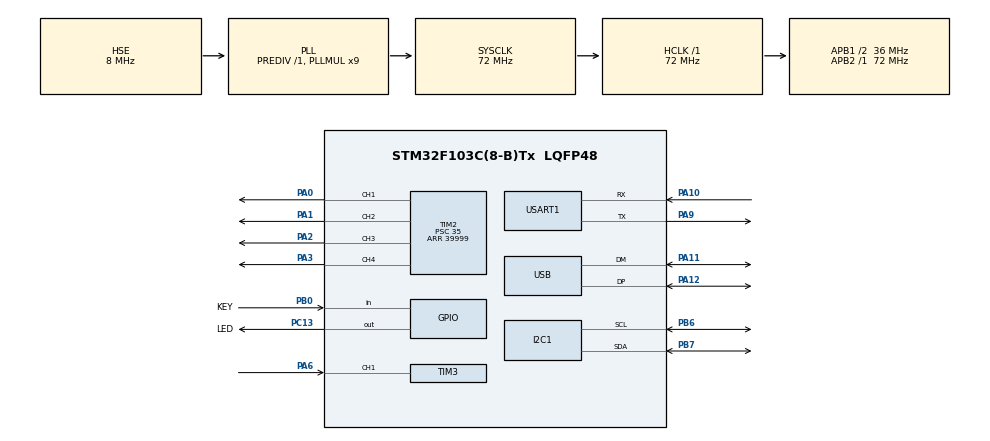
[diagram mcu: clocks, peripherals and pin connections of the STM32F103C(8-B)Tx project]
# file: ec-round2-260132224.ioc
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I2C1.I2C_Mode=I2C_Fast
Mcu.Family=STM32F1
Mcu.Name=STM32F103C(8-B)Tx
Mcu.Package=LQFP48
NVIC.PriorityGroup=NVIC_PRIORITYGROUP_4
NVIC.TIM3_IRQn=true\:1\:0\:true\:false\:true\:true\:true\:true
NVIC.TIM4_IRQn=true\:1\:0\:true\:false\:true\:true\:true\:true
NVIC.USB_LP_CAN1_RX0_IRQn=true\:0\:0\:false\:false\:true\:false\:true\:true
PA0-WKUP.Signal=S_TIM2_CH1_ETR
PA1.Signal=S_TIM2_CH2
PA10.Mode=Asynchronous
PA10.Signal=USART1_RX
PA11.Mode=Device
PA11.Signal=USB_DM
PA12.Mode=Device
PA12.Signal=USB_DP
PA13.Mode=Serial_Wire
PA13.Signal=SYS_JTMS-SWDIO
PA14.Mode=Serial_Wire
PA14.Signal=SYS_JTCK-SWCLK
PA2.Signal=S_TIM2_CH3
PA3.Signal=S_TIM2_CH4
PA6.Signal=S_TIM3_CH1
PA9.Mode=Asynchronous
PA9.Signal=USART1_TX
PB0.GPIO_Label=KEY
PB0.GPIO_PuPd=GPIO_PULLUP
PB0.Signal=GPIO_Input
PB6.Mode=I2C
PB6.Signal=I2C1_SCL
PB7.Mode=I2C
PB7.Signal=I2C1_SDA
PC13-TAMPER-RTC.GPIO_Label=LED
PC13-TAMPER-RTC.Signal=GPIO_Output
PD0-OSC_IN.Mode=HSE-External-Oscillator
PD0-OSC_IN.Signal=RCC_OSC_IN
PD1-OSC_OUT.Mode=HSE-External-Oscillator
PD1-OSC_OUT.Signal=RCC_OSC_OUT
ProjectManager.HeapSize=0x200
ProjectManager.StackSize=0x400
ProjectManager.TargetToolchain=CMake
RCC.AHBFreq_Value=72000000
RCC.APB1CLKDivider=RCC_HCLK_DIV2
RCC.APB1Freq_Value=36000000
RCC.APB1TimFreq_Value=72000000
RCC.APB2Freq_Value=72000000
RCC.APB2TimFreq_Value=72000000
RCC.HCLKFreq_Value=72000000
RCC.PLLMUL=RCC_PLL_MUL9
RCC.PLLSourceVirtual=RCC_PLLSOURCE_HSE
RCC.SYSCLKFreq_VALUE=72000000
RCC.SYSCLKSource=RCC_SYSCLKSOURCE_PLLCLK
RCC.USBFreq_Value=48000000
RCC.USBPrescaler=RCC_USBCLKSOURCE_PLL_DIV1_5
SH.S_TIM2_CH1_ETR.0=TIM2_CH1,PWM Generation1 CH1
SH.S_TIM2_CH2.0=TIM2_CH2,PWM Generation2 CH2
SH.S_TIM2_CH3.0=TIM2_CH3,PWM Generation3 CH3
SH.S_TIM2_CH4.0=TIM2_CH4,PWM Generation4 CH4
SH.S_TIM3_CH1.0=TIM3_CH1,Input_Capture1_from_TI1
TIM2.AutoReloadPreload=TIM_AUTORELOAD_PRELOAD_ENABLE
TIM2.Channel-PWM\ Generation1\ CH1=TIM_CHANNEL_1
TIM2.Channel-PWM\ Generation2\ CH2=TIM_CHANNEL_2
TIM2.Channel-PWM\ Generation3\ CH3=TIM_CHANNEL_3
TIM2.Channel-PWM\ Generation4\ CH4=TIM_CHANNEL_4
TIM2.Period=39999
TIM2.Prescaler=35
TIM3.Channel-Input_Capture1_from_TI1=TIM_CHANNEL_1
TIM3.Prescaler=35
TIM4.AutoReloadPreload=TIM_AUTORELOAD_PRELOAD_ENABLE
TIM4.Period=999
TIM4.Prescaler=71
USART1.VirtualMode=VM_ASYNC
USB_DEVICE.CLASS_NAME_FS=CDC
USB_DEVICE.VirtualMode=Cdc
USB_DEVICE.VirtualModeFS=Cdc_FS
VP_TIM2_VS_ClockSourceINT.Mode=Internal
VP_TIM3_VS_ClockSourceINT.Mode=Internal
VP_TIM4_VS_ClockSourceINT.Mode=Internal
VP_USB_DEVICE_VS_USB_DEVICE_CDC_FS.Mode=CDC_FS
board=custom

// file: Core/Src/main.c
/* USER CODE BEGIN Header */
/**
  ******************************************************************************
  * @file           : main.c
  * @brief          : Main program body
  ******************************************************************************
  * @attention
  *
  * Copyright (c) 2026 STMicroelectronics.
  * All rights reserved.
  *
  * This software is licensed under terms that can be found in the LICENSE file
  * in the root directory of this software component.
  * If no LICENSE file comes with this software, it is provided AS-IS.
  *
  ******************************************************************************
  */
/* USER CODE END Header */
#include "main.h"
#include "i2c.h"
#include "tim.h"
#include "usart.h"
#include "usb_device.h"
#include "gpio.h"

/* USER CODE BEGIN Includes */
#include <stdio.h>
#include "arm_home.h"
#include "arm_imu.h"
#include "arm_motion.h"
#include "arm_state.h"
#include "bsp_pwm.h"
#include "bsp_pwm_measure.h"
#include "bsp_time.h"
/* USER CODE END Includes */

/* USER CODE BEGIN PD */

/* 1 = 标定模式：串口控制台可逐关节微调脉宽，配合捕获读数核对
   0 = 正常运行：控制台整段不编译                                         */
#define CALIB_MODE      1

/* 控制台步进（µs） */
#define CALIB_STEP_FINE   10
#define CALIB_STEP_COARSE 50

/* USER CODE END PD */

/* USER CODE BEGIN PV */
static uint32_t  s_tick5;       /* 5ms 节拍计数（用于验证时基） */
static uint32_t  s_last_sec;    /* 上次打印的秒数 */
static ArmMotion g_motion;      /* 回零与日常运动共用同一个轨迹对象 */

#if CALIB_MODE
static pwm_joint_t s_calib_joint = PWM_J_BASE;   /* 当前在调哪一路 */
#endif
/* USER CODE END PV */

void SystemClock_Config(void);

/* USER CODE BEGIN 0 */
#if CALIB_MODE
/* 串口控制台：单字符命令，逐关节微调脉宽，用来标定行程
 *   1~4  选关节（1=底座 2=肩 3=肘 4=爪）
 *   + -  当前关节 ±10µs
 *   ] [  当前关节 ±50µs（快速扫）
 *   c    当前关节回中 1500µs
 *   a    四路全部回中 1500µs
 *   p    打印当前关节与脉宽
 *   h    打印本帮助
 * 注意：必须在 BSP_Pwm_Init() 之后调用（PWM 已启动）
 */
static void Calib_Console(void)
{
    static uint8_t ch;
    uint16_t us;

    if (HAL_UART_Receive(&huart1, &ch, 1U, 0U) != HAL_OK) {
        return;
    }

    us = BSP_Pwm_GetPulseUs(s_calib_joint);

    switch (ch) {
    case '1':
    case '2':
    case '3':
    case '4':
        s_calib_joint = (pwm_joint_t)(ch - '1');
        printf("[J%u] selected, us=%u\r\n",
               (unsigned)(s_calib_joint + 1U),
               BSP_Pwm_GetPulseUs(s_calib_joint));
        break;

    case '+':
    case '=':
        BSP_Pwm_SetPulseUs(s_calib_joint, (uint16_t)(us + CALIB_STEP_FINE));
        printf("[J%u] %u -> %u\r\n", (unsigned)(s_calib_joint + 1U), us,
               BSP_Pwm_GetPulseUs(s_calib_joint));
        break;

    case '-':
    case '_':
        BSP_Pwm_SetPulseUs(s_calib_joint, (uint16_t)(us - CALIB_STEP_FINE));
        printf("[J%u] %u -> %u\r\n", (unsigned)(s_calib_joint + 1U), us,
               BSP_Pwm_GetPulseUs(s_calib_joint));
        break;

    case ']':
        BSP_Pwm_SetPulseUs(s_calib_joint, (uint16_t)(us + CALIB_STEP_COARSE));
        printf("[J%u] %u -> %u\r\n", (unsigned)(s_calib_joint + 1U), us,
               BSP_Pwm_GetPulseUs(s_calib_joint));
        break;

    case '[':
        BSP_Pwm_SetPulseUs(s_calib_joint, (uint16_t)(us - CALIB_STEP_COARSE));
        printf("[J%u] %u -> %u\r\n", (unsigned)(s_calib_joint + 1U), us,
               BSP_Pwm_GetPulseUs(s_calib_joint));
        break;

    case 'c':
        BSP_Pwm_SetPulseUs(s_calib_joint, 1500U);
        printf("[J%u] center 1500\r\n", (unsigned)(s_calib_joint + 1U));
        break;

    case 'a':
        for (uint8_t i = 0; i < PWM_J_NUM; i++) {
            BSP_Pwm_SetPulseUs((pwm_joint_t)i, 1500U);
        }
        printf("all center 1500\r\n");
        break;

    case 'p':
        printf("[J%u] us=%u\r\n", (unsigned)(s_calib_joint + 1U),
               BSP_Pwm_GetPulseUs(s_calib_joint));
        break;

    /* 走完整映射链路，用来验证"角度→脉宽"与软限位 */
    case 'z':   /* q = 0    -> 应为 pulse_min */
        BSP_Pwm_SetAngle10(s_calib_joint, 0);
        printf("[J%u] q=0    -> us=%u\r\n", (unsigned)(s_calib_joint + 1U),
               BSP_Pwm_GetPulseUs(s_calib_joint));
        break;

    case 'm':   /* q = 900  -> 应为中值 */
        BSP_Pwm_SetAngle10(s_calib_joint, 900);
        printf("[J%u] q=900  -> us=%u\r\n", (unsigned)(s_calib_joint + 1U),
               BSP_Pwm_GetPulseUs(s_calib_joint));
        break;

    case 'x':   /* q = 1800 -> 应为 pulse_max */
        BSP_Pwm_SetAngle10(s_calib_joint, 1800);
        printf("[J%u] q=1800 -> us=%u\r\n", (unsigned)(s_calib_joint + 1U),
               BSP_Pwm_GetPulseUs(s_calib_joint));
        break;

    case 'o':   /* q = 2500 -> 超限，应被钳到 pulse_max */
        BSP_Pwm_SetAngle10(s_calib_joint, 2500);
        printf("[J%u] q=2500 -> us=%u (clamped)\r\n", (unsigned)(s_calib_joint + 1U),
               BSP_Pwm_GetPulseUs(s_calib_joint));
        break;

    case 'h':
        printf("1-4 joint | +/- 10us | ]/[ 50us | c center | a all\r\n");
        printf("p print  | z q=0 | m q=900 | x q=1800 | o q=2500(clamp)\r\n");
        break;

    default:
        break;   /* 回车/换行等忽略 */
    }
}
#endif /* CALIB_MODE */
/* USER CODE END 0 */

int main(void)
{

  /* MCU Configuration--------------------------------------------------------*/

  /* Reset of all peripherals, Initializes the Flash interface and the Systick. */
  HAL_Init();

  /* Configure the system clock */
  SystemClock_Config();

  /* Initialize all configured peripherals */
  MX_GPIO_Init();
  MX_I2C1_Init();
  MX_TIM2_Init();
  MX_USART1_UART_Init();
  MX_USB_DEVICE_Init();
  MX_TIM3_Init();
  MX_TIM4_Init();
  /* USER CODE BEGIN 2 */
    BSP_Time_Init();
    ArmState_Init();
    BSP_Pwm_Init();

    /* 姿态传感器：初始化 + 静止零偏校准（约 0.7s，期间机械臂须静止） */
    if (ArmImu_Init() == 0U) {
        printf("[imu] init FAIL\r\n");
    } else {
        printf("[imu] init ok\r\n");
    }

#if PWM_MEASURE_ENABLE
    BSP_PwmMeasure_Init();      /* 需要 PA0 与 PA6 短接 */
#endif

    ArmHome_Start(&g_motion, ARM_HOME_DURATION_MS);   /* 上电自动回零 */
  /* USER CODE END 2 */

  /* Infinite loop */
  while (1)
  {

    /* USER CODE BEGIN 3 */
    if (BSP_Time_Take5ms()) {
        s_tick5++;              /* 每 5ms 加一，1 秒应到 200 */

        (void)ArmHome_Poll(&g_motion);   /* 回零推进，1.5s 后自动结束 */

        ArmImu_Poll();                   /* 内部 20Hz 采样 + 故障判定 */

        if (g_fault) {                   /* 故障态：立刻停在当前位置 */
            ArmMotion_Abort(&g_motion);
        }
    }

    if ((BSP_Time_Ms() - s_last_sec) >= 1000U) {   /* 1Hz 自检打印 */
        s_last_sec = BSP_Time_Ms();
        printf("ms=%lu tick5=%lu st=0x%02X\r\n",
               (unsigned long)s_last_sec, (unsigned long)s_tick5,
               (unsigned)ArmState_Pack());
        s_tick5 = 0U;
    }

#if PWM_MEASURE_ENABLE
    BSP_PwmMeasure_Poll();      /* 1Hz 打印一次实测脉宽 */
#endif

#if CALIB_MODE
    Calib_Console();            /* 标定控制台：串口单字符命令 */
#endif
  }
  /* USER CODE END 3 */
}

void SystemClock_Config(void)
{
  RCC_OscInitTypeDef RCC_OscInitStruct = {0};
  RCC_ClkInitTypeDef RCC_ClkInitStruct = {0};
  RCC_PeriphCLKInitTypeDef PeriphClkInit = {0};

  /** Initializes the RCC Oscillators according to the specified parameters
  * in the RCC_OscInitTypeDef structure.
  */
  RCC_OscInitStruct.OscillatorType = RCC_OSCILLATORTYPE_HSE;
  RCC_OscInitStruct.HSEState = RCC_HSE_ON;
  RCC_OscInitStruct.HSEPredivValue = RCC_HSE_PREDIV_DIV1;
  RCC_OscInitStruct.HSIState = RCC_HSI_ON;
  RCC_OscInitStruct.PLL.PLLState = RCC_PLL_ON;
  RCC_OscInitStruct.PLL.PLLSource = RCC_PLLSOURCE_HSE;
  RCC_OscInitStruct.PLL.PLLMUL = RCC_PLL_MUL9;
  if (HAL_RCC_OscConfig(&RCC_OscInitStruct) != HAL_OK)
  {
    Error_Handler();
  }

  /** Initializes the CPU, AHB and APB buses clocks
  */
  RCC_ClkInitStruct.ClockType = RCC_CLOCKTYPE_HCLK|RCC_CLOCKTYPE_SYSCLK
                              |RCC_CLOCKTYPE_PCLK1|RCC_CLOCKTYPE_PCLK2;
  RCC_ClkInitStruct.SYSCLKSource = RCC_SYSCLKSOURCE_PLLCLK;
  RCC_ClkInitStruct.AHBCLKDivider = RCC_SYSCLK_DIV1;
  RCC_ClkInitStruct.APB1CLKDivider = RCC_HCLK_DIV2;
  RCC_ClkInitStruct.APB2CLKDivider = RCC_HCLK_DIV1;

  if (HAL_RCC_ClockConfig(&RCC_ClkInitStruct, FLASH_LATENCY_2) != HAL_OK)
  {
    Error_Handler();
  }
  PeriphClkInit.PeriphClockSelection = RCC_PERIPHCLK_USB;
  PeriphClkInit.UsbClockSelection = RCC_USBCLKSOURCE_PLL_DIV1_5;
  if (HAL_RCCEx_PeriphCLKConfig(&PeriphClkInit) != HAL_OK)
  {
    Error_Handler();
  }
}

/* USER CODE BEGIN 4 */

int _write(int fd, char *ptr, int len)
{
    (void)fd;
    HAL_UART_Transmit(&huart1, (uint8_t *)ptr, (uint16_t)len, HAL_MAX_DELAY);
    return len;
}
/* USER CODE END 4 */

void Error_Handler(void)
{
  __disable_irq();
  while (1)
  {
  }
}
